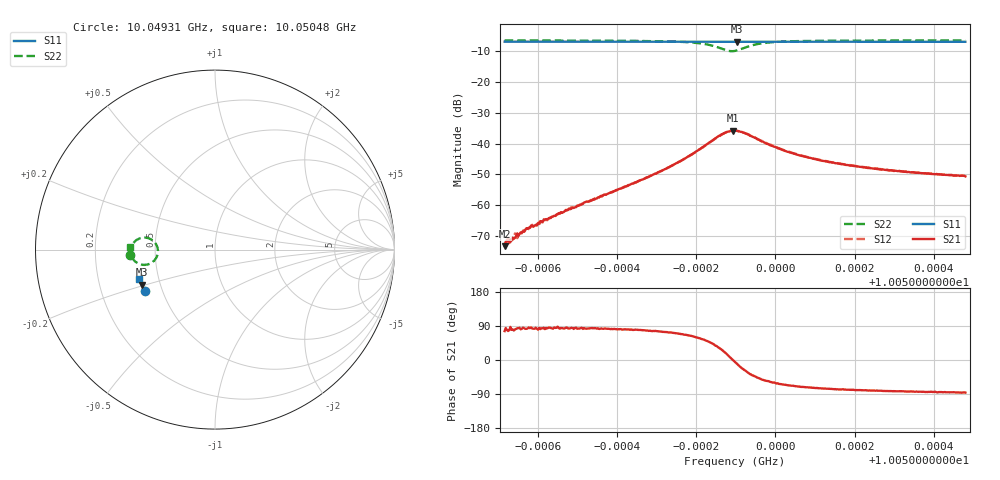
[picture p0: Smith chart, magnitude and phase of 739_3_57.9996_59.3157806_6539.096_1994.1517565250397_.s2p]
#  HZ  S  RI  R  50.00
! Rohde & Schwarz Vector Network Analyzer
! Rohde-Schwarz,ZNB20-2Port,1311601062101988,3.16
! Created: UTC 3/21/2024, 1:23:25 AM
! freq[Hz]  re:S11  im:S11  re:S21  im:S21  re:S12  im:S12  re:S22  im:S22
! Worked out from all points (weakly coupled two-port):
!   401 points, 10.04931 GHz to 10.05048 GHz, reference 50 ohm
!   highest |S21| = -35.77 dB at 10.04989 GHz (marker M1); lowest = -73.3 dB at 10.04931 GHz (marker M2)
!   lowest |S11| = -6.9 dB at 10.0499 GHz (marker M3), VSWR 2.65, Z = 19.7 - j9.71 ohm
!   |S11| at or under -10 dB: nowhere
!   |S22| runs from -10.0 to -6.5 dB; largest |S21 - S12| = 0.0015
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1.0049314e10  -0.3911 -0.2306  5.12e-05 0.000209  3.2e-05 0.000227  -0.474 -0.0282
1.0049323e10  -0.3915 -0.23  5.97e-05 0.000249  3.22e-05 0.000293  -0.4738 -0.0274
1.0049332e10  -0.3917 -0.2294  5.22e-05 0.00028  3.15e-05 0.000263  -0.4738 -0.0266
1.0049346e10  -0.3922 -0.2288  3.81e-05 0.000346  2.72e-05 0.000289  -0.4737 -0.0251
1.0049376e10  -0.3933 -0.2268  3.17e-05 0.000429  2.17e-05 0.000414  -0.4736 -0.0224
1.0049393e10  -0.3938 -0.2258  4.16e-05 0.000477  4.58e-05 0.000482  -0.4736 -0.0206
1.0049414e10  -0.3944 -0.2247  5.24e-05 0.000585  1.56e-05 0.000578  -0.4735 -0.0186
1.004951e10  -0.3973 -0.219  9.08e-05 0.00103  6.48e-05 0.00105  -0.4723 -0.00765
1.0049705e10  -0.403 -0.2074  0.000875 0.00336  0.000649 0.00337  -0.4617 0.0262
1.0049769e10  -0.4048 -0.2033  0.00224 0.00522  0.00188 0.00532  -0.446 0.0465
1.0049842e10  -0.4062 -0.1985  0.0085 0.00777  0.00788 0.00822  -0.3821 0.0662
1.0049868e10  -0.4063 -0.1971  0.0135 0.00572  0.0129 0.00665  -0.3377 0.0424
1.0049892e10  -0.4066 -0.1962  0.0163 6.83e-05  0.0161 0.00143  -0.3178 -0.0123
1.0049898e10  -0.4067 -0.1961  0.0161 -0.00149  0.0162 -0.000137  -0.3201 -0.0278
1.0049903e10  -0.4067 -0.1958  0.0158 -0.003  0.016 -0.00188  -0.3252 -0.0422
1.0049933e10  -0.4078 -0.1948  0.0114 -0.00788  0.0121 -0.00704  -0.3735 -0.0824
1.004997e10  -0.4095 -0.1926  0.0063 -0.00845  0.00689 -0.00803  -0.4239 -0.0792
1.0050026e10  -0.4112 -0.1892  0.00312 -0.00687  0.0036 -0.00679  -0.454 -0.0566
1.0050093e10  -0.4134 -0.1852  0.00166 -0.00549  0.00203 -0.00542  -0.4664 -0.0363
1.0050183e10  -0.4155 -0.1795  0.000911 -0.00439  0.00116 -0.00436  -0.4719 -0.0182
1.0050288e10  -0.4181 -0.1731  0.000511 -0.00362  0.000731 -0.00363  -0.4741 -0.00344
1.0050481e10  -0.4225 -0.1612  0.000199 -0.00293  0.000388 -0.00295  -0.4748 0.0162
